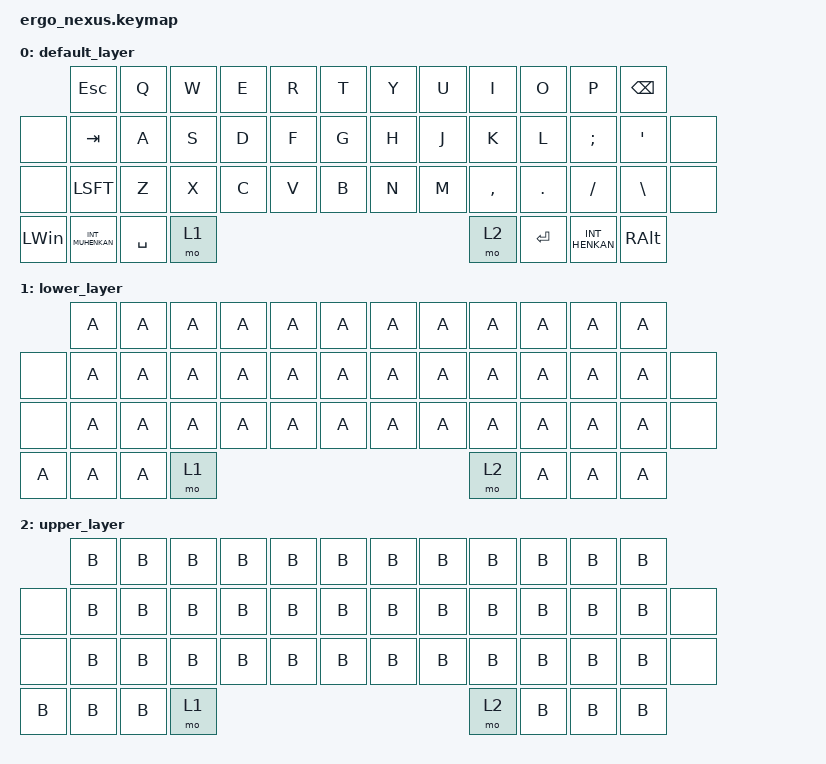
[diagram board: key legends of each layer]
#include <behaviors.dtsi>
#include <dt-bindings/zmk/keys.h>

/ {
    keymap {
        compatible = "zmk,keymap";

        default_layer { // Layer 0
            // -------------------------------------
            // |     Z     |     M     |     K     |
            // |     A     |     B     |     C     |
            // |     D     |     E     |     F     |
            bindings = <
                      &kp ESC  &kp Q &kp W &kp E &kp R &kp T   &kp Y &kp U &kp I &kp O &kp P &kp BSPC
                &none &kp TAB  &kp A &kp S &kp D &kp F &kp G   &kp H &kp J &kp K &kp L &kp SEMI &kp SINGLE_QUOTE &none
                &none &kp LSFT &kp Z &kp X &kp C &kp V &kp B   &kp N &kp M &kp COMMA &kp DOT &kp SLASH &kp BACKSLASH &none
                 &kp LEFT_WIN &kp INT_MUHENKAN  &kp SPACE &mo 1   &mo 2 &kp ENTER &kp INT_HENKAN &kp RALT
            >;
        };

        lower_layer {
            bindings = <
                      &kp A  &kp A &kp A &kp A &kp A &kp A   &kp A &kp A &kp A &kp A &kp A &kp A
                &none &kp A  &kp A &kp A &kp A &kp A &kp A   &kp A &kp A &kp A &kp A &kp A &kp A &none
                &none &kp A &kp A &kp A &kp A &kp A &kp A   &kp A &kp A &kp A &kp A &kp A &kp A &none
                 &kp A &kp A  &kp A &mo 1   &mo 2 &kp A &kp A &kp A
            >;
        };

        upper_layer {
            bindings = <
                      &kp B  &kp B &kp B &kp B &kp B &kp B   &kp B &kp B &kp B &kp B &kp B &kp B
                &none &kp B  &kp B &kp B &kp B &kp B &kp B   &kp B &kp B &kp B &kp B &kp B &kp B &none
                &none &kp B &kp B &kp B &kp B &kp B &kp B   &kp B &kp B &kp B &kp B &kp B &kp B &none
                 &kp B &kp B  &kp B &mo 1   &mo 2 &kp B &kp B &kp B
            >;
        }
    };
 };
